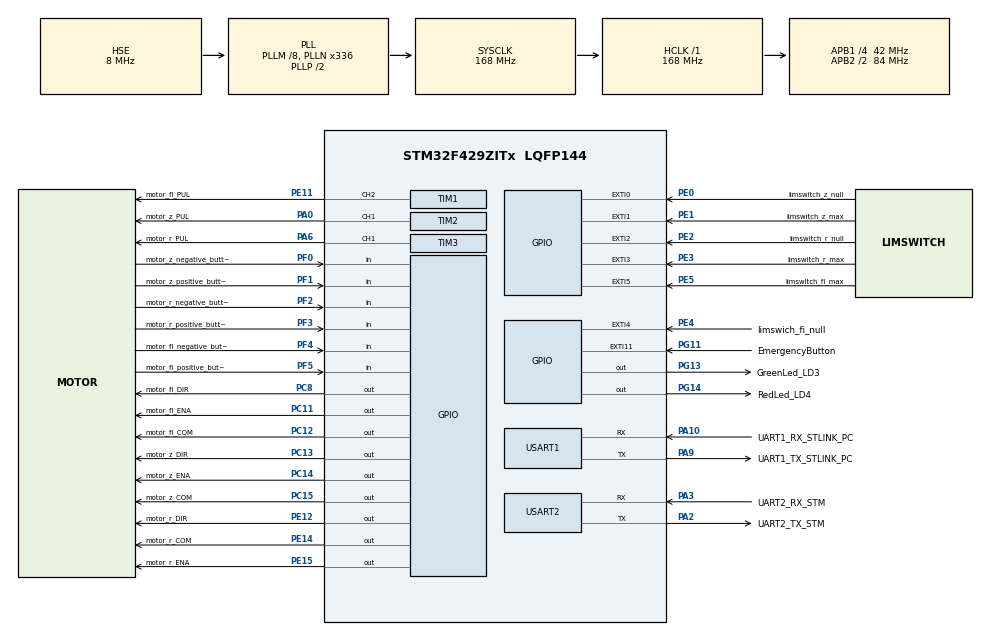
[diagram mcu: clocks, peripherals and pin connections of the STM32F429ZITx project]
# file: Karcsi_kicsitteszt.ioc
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FREERTOS.INCLUDE_vTaskDelayUntil=1
FREERTOS.Queues01=WifiCommands,20,uint8_t,0,Dynamic,NULL,NULL
FREERTOS.Tasks01=indicator_blinking,-3,256,fc_indicator_blinking,Default,(&error_byte),Dynamic,NULL,NULL;control_viaGPIOI,3,2048,fc_control_viaGPIO,Default,stepperMotors,Dynamic,NULL,NULL;control_viaWIFI,3,2048,fc_control_viaWIFI,Default,stepperMotors,Dynamic,NULL,NULL;updateLimSwitch,3,1024,fc_updateLimSwitch,Default,NULL,Dynamic,NULL,NULL
FREERTOS.configCHECK_FOR_STACK_OVERFLOW=2
FREERTOS.configMAX_TASK_NAME_LEN=255
FREERTOS.configTOTAL_HEAP_SIZE=32768
FREERTOS.configUSE_APPLICATION_TASK_TAG=1
FREERTOS.configUSE_COUNTING_SEMAPHORES=1
FREERTOS.configUSE_IDLE_HOOK=1
FREERTOS.configUSE_MALLOC_FAILED_HOOK=1
FREERTOS.configUSE_RECURSIVE_MUTEXES=1
FREERTOS.configUSE_TIMERS=0
Mcu.Family=STM32F4
Mcu.Name=STM32F429ZITx
Mcu.Package=LQFP144
NVIC.EXTI15_10_IRQn=true\:5\:0\:false\:false\:true\:true\:true\:true\:true
NVIC.PriorityGroup=NVIC_PRIORITYGROUP_4
NVIC.TIM1_BRK_TIM9_IRQn=true\:5\:0\:false\:false\:true\:true\:true\:true\:true
NVIC.TIM1_CC_IRQn=true\:5\:0\:false\:false\:true\:true\:true\:true\:true
NVIC.TIM1_TRG_COM_TIM11_IRQn=true\:5\:0\:false\:false\:true\:true\:true\:true\:true
NVIC.TIM1_UP_TIM10_IRQn=true\:5\:0\:false\:false\:true\:true\:true\:true\:true
NVIC.TIM2_IRQn=true\:5\:0\:false\:false\:true\:true\:true\:true\:true
NVIC.TIM3_IRQn=true\:5\:0\:false\:false\:true\:true\:true\:true\:true
NVIC.TIM6_DAC_IRQn=true\:15\:0\:false\:false\:true\:false\:false\:true\:true
NVIC.TimeBase=TIM6_DAC_IRQn
NVIC.TimeBaseIP=TIM6
PA0/WKUP.GPIO_Label=motor_z_PUL
PA0/WKUP.Signal=S_TIM2_CH1_ETR
PA10.GPIO_Label=UART1_RX_STLINK_PC
PA10.Mode=Asynchronous
PA10.Signal=USART1_RX
PA2.GPIO_Label=UART2_TX_STM
PA2.GPIO_Speed=GPIO_SPEED_FREQ_VERY_HIGH
PA2.Mode=Multiprocessor_communication
PA2.Signal=USART2_TX
PA3.GPIO_Label=UART2_RX_STM
PA3.Mode=Multiprocessor_communication
PA3.Signal=USART2_RX
PA6.GPIO_Label=motor_r_PUL
PA6.Signal=S_TIM3_CH1
PA9.GPIO_Label=UART1_TX_STLINK_PC
PA9.Mode=Asynchronous
PA9.Signal=USART1_TX
PC11.GPIO_Label=motor_fi_ENA
PC11.Signal=GPIO_Output
PC12.GPIO_Label=motor_fi_COM
PC12.Signal=GPIO_Output
PC13.GPIO_Label=motor_z_DIR
PC13.Signal=GPIO_Output
PC14/OSC32_IN.GPIO_Label=motor_z_ENA
PC14/OSC32_IN.Signal=GPIO_Output
PC15/OSC32_OUT.GPIO_Label=motor_z_COM
PC15/OSC32_OUT.Signal=GPIO_Output
PC8.GPIO_Label=motor_fi_DIR
PC8.Signal=GPIO_Output
PE0.GPIO_Label=limswitch_z_null
PE0.GPIO_ModeDefaultEXTI=GPIO_MODE_IT_RISING_FALLING
PE0.GPIO_PuPd=GPIO_PULLDOWN
PE0.Signal=GPXTI0
PE1.GPIO_Label=limswitch_z_max
PE1.GPIO_ModeDefaultEXTI=GPIO_MODE_IT_RISING_FALLING
PE1.GPIO_PuPd=GPIO_PULLDOWN
PE1.Signal=GPXTI1
PE11.GPIO_Label=motor_fi_PUL
PE11.GPIO_Speed=GPIO_SPEED_FREQ_HIGH
PE11.Signal=S_TIM1_CH2
PE12.GPIO_Label=motor_r_DIR
PE12.Signal=GPIO_Output
PE14.GPIO_Label=motor_r_COM
PE14.Signal=GPIO_Output
PE15.GPIO_Label=motor_r_ENA
PE15.Signal=GPIO_Output
PE2.GPIO_Label=limswitch_r_null
PE2.GPIO_ModeDefaultEXTI=GPIO_MODE_IT_RISING_FALLING
PE2.GPIO_PuPd=GPIO_PULLDOWN
PE2.Signal=GPXTI2
PE3.GPIO_Label=limswitch_r_max
PE3.GPIO_ModeDefaultEXTI=GPIO_MODE_IT_RISING_FALLING
PE3.GPIO_PuPd=GPIO_PULLDOWN
PE3.Signal=GPXTI3
PE4.GPIO_Label=limswich_fi_null
PE4.GPIO_ModeDefaultEXTI=GPIO_MODE_IT_RISING_FALLING
PE4.GPIO_PuPd=GPIO_PULLDOWN
PE4.Signal=GPXTI4
PE5.GPIO_Label=limswitch_fi_max
PE5.GPIO_ModeDefaultEXTI=GPIO_MODE_IT_RISING_FALLING
PE5.GPIO_PuPd=GPIO_PULLDOWN
PE5.Signal=GPXTI5
PF0.GPIO_Label=motor_z_negative_button
PF0.GPIO_PuPd=GPIO_PULLDOWN
PF0.Signal=GPIO_Input
PF1.GPIO_Label=motor_z_positive_button
PF1.GPIO_PuPd=GPIO_PULLDOWN
PF1.Signal=GPIO_Input
PF2.GPIO_Label=motor_r_negative_button
PF2.GPIO_PuPd=GPIO_PULLDOWN
PF2.Signal=GPIO_Input
PF3.GPIO_Label=motor_r_positive_button
PF3.GPIO_PuPd=GPIO_PULLDOWN
PF3.Signal=GPIO_Input
PF4.GPIO_Label=motor_fi_negative_button
PF4.GPIO_PuPd=GPIO_PULLDOWN
PF4.Signal=GPIO_Input
PF5.GPIO_Label=motor_fi_positive_button
PF5.GPIO_PuPd=GPIO_PULLDOWN
PF5.Signal=GPIO_Input
PG11.GPIO_Label=EmergencyButton
PG11.GPIO_ModeDefaultEXTI=GPIO_MODE_IT_RISING_FALLING
PG11.Signal=GPXTI11
PG13.GPIO_Label=GreenLed_LD3
PG13.GPIO_Mode=GPIO_MODE_OUTPUT_PP
PG13.GPIO_PuPd=GPIO_PULLDOWN
PG13.GPIO_Speed=GPIO_SPEED_FREQ_LOW
PG13.Signal=GPIO_Output
PG14.GPIO_Label=RedLed_LD4
PG14.GPIO_Mode=GPIO_MODE_OUTPUT_PP
PG14.GPIO_PuPd=GPIO_PULLDOWN
PG14.GPIO_Speed=GPIO_SPEED_FREQ_LOW
PG14.Signal=GPIO_Output
PH0/OSC_IN.GPIO_Label=PH0-OSC_IN
PH0/OSC_IN.Mode=HSE-External-Oscillator
PH0/OSC_IN.Signal=RCC_OSC_IN
PH1/OSC_OUT.GPIO_Label=PH1-OSC_OUT
PH1/OSC_OUT.Mode=HSE-External-Oscillator
PH1/OSC_OUT.Signal=RCC_OSC_OUT
ProjectManager.HeapSize=0x200
ProjectManager.StackSize=0x400
ProjectManager.TargetToolchain=STM32CubeIDE
RCC.48MHZClocksFreq_Value=48000000
RCC.AHBFreq_Value=168000000
RCC.APB1CLKDivider=RCC_HCLK_DIV4
RCC.APB1Freq_Value=42000000
RCC.APB1TimFreq_Value=84000000
RCC.APB2CLKDivider=RCC_HCLK_DIV2
RCC.APB2Freq_Value=84000000
RCC.APB2TimFreq_Value=168000000
RCC.CortexFreq_Value=168000000
RCC.HCLKFreq_Value=168000000
RCC.HSE_VALUE=8000000
RCC.HSI_VALUE=16000000
RCC.LSE_VALUE=32768
RCC.PLLM=8
RCC.PLLN=336
RCC.PLLQ=7
RCC.PLLSAIN=50
RCC.PLLSourceVirtual=RCC_PLLSOURCE_HSE
RCC.SYSCLKFreq_VALUE=168000000
RCC.SYSCLKSource=RCC_SYSCLKSOURCE_PLLCLK
RCC.VCOOutputFreq_Value=336000000
SH.S_TIM1_CH2.0=TIM1_CH2,PWM Generation2 CH2
SH.S_TIM2_CH1_ETR.0=TIM2_CH1,PWM Generation1 CH1
SH.S_TIM3_CH1.0=TIM3_CH1,PWM Generation1 CH1
TIM1.Channel-PWM\ Generation2\ CH2=TIM_CHANNEL_2
TIM1.ClockDivision=TIM_CLOCKDIVISION_DIV1
TIM1.CounterMode=TIM_COUNTERMODE_UP
TIM1.OCMode_PWM-PWM\ Generation2\ CH2=TIM_OCMODE_PWM2
TIM1.Period=1000-1
TIM1.Prescaler=1680-1
TIM1.Pulse-PWM\ Generation2\ CH2=499
TIM1.RepetitionCounter=0
TIM1.TIM_MasterOutputTrigger=TIM_TRGO_RESET
TIM2.Channel-PWM\ Generation1\ CH1=TIM_CHANNEL_1
TIM2.CounterMode=TIM_COUNTERMODE_UP
TIM2.OCMode_PWM-PWM\ Generation1\ CH1=TIM_OCMODE_PWM2
TIM2.Period=1000-1
TIM2.Prescaler=1680-1
TIM2.Pulse-PWM\ Generation1\ CH1=499
TIM2.TIM_MasterOutputTrigger=TIM_TRGO_RESET
TIM3.Channel-PWM\ Generation1\ CH1=TIM_CHANNEL_1
TIM3.OCMode_PWM-PWM\ Generation1\ CH1=TIM_OCMODE_PWM2
TIM3.Period=1000-1
TIM3.Prescaler=1680-1
TIM3.Pulse-PWM\ Generation1\ CH1=499
USART1.VirtualMode=VM_ASYNC
USART2.VirtualMode=VM_ASYNC
VP_FREERTOS_VS_CMSIS_V1.Mode=CMSIS_V1
VP_SYS_VS_tim6.Mode=TIM6
VP_TIM1_VS_ClockSourceINT.Mode=Internal
VP_TIM2_VS_ClockSourceINT.Mode=Internal
VP_TIM3_VS_ClockSourceINT.Mode=Internal
board=STM32F429I-DISC1

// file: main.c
/* USER CODE BEGIN Header */
/**
  ******************************************************************************
  * @file           : main.c
  * @brief          : Main program body
  ******************************************************************************
  * This project implements the basic movement functions required for controlling Karcsi.
  * The user can control the arm trough the six pushbuttons connected to port F.
  *
  * TIM1_TRGO pin is connected to TIM2_ITR0, so TIM1 acts as a prescaler to TIM2.
  * In the future this will be used for calculate the position of the arm.
  ******************************************************************************
  */
/* USER CODE END Header */
#include "main.h"
#include "cmsis_os.h"

/* USER CODE BEGIN Includes */
#include "StepperMotorControll.h"
#include <stdio.h>
/* USER CODE END Includes */

/* USER CODE BEGIN PTD */

//Define "gpio" for button control OR define "wifi" for controlling via webpage (wifi communication).
#define gpio 1

/* USER CODE END PTD */

TIM_HandleTypeDef htim1;
TIM_HandleTypeDef htim2;
TIM_HandleTypeDef htim3;

UART_HandleTypeDef huart1;
UART_HandleTypeDef huart2;

osThreadId indicator_blinkingHandle;
osThreadId control_viaGPIOIHandle;
osThreadId control_viaWIFIHandle;
osThreadId updateLimSwitchHandle;
osMessageQId WifiCommandsHandle;
/* USER CODE BEGIN PV */
//Array that contains the motor structs, offers easy acccess to motor variables
static StepperMotor stepperMotors[NUMBER_OF_MOTORS];

/*
 * Pinstates of the limit switches
 * The @limit_switches array must contain 6 element:
 * limit_switches[0] : FI axis' zero point (when the arm is rotated all the way counter-clockwise)
 * limit_switches[1] : FI axis' maximal positive excursion (rotated all the way clockwise)
 * limit_switches[2] : Z axis' zero point (lower switch)
 * limit_switches[3] : Z axis' maximal positiv excursion (upper sitch)
 * limit_switches[4] : R axis' zero ponit (when the arm is fully retracted)
 * limit_switches[5] : R axis' maximal positive excursion (the arm reaches the furthest)
 */
static GPIO_PinState limit_switches[6];

static ToolPosition current_position;

//Counting steps wihle moving
static volatile uint32_t alltime_Rpos = 0;
static volatile uint32_t alltime_Zpos = 0;
static volatile uint32_t alltime_FIpos = 0;

//Controlling Task output
static uint8_t error_byte = 0;

//
static uint8_t homing_state = 0;

/* USER CODE END PV */

void SystemClock_Config(void);
static void MX_GPIO_Init(void);
static void MX_USART1_UART_Init(void);
static void MX_TIM1_Init(void);
static void MX_USART2_UART_Init(void);
static void MX_TIM2_Init(void);
static void MX_TIM3_Init(void);
void fc_indicator_blinking(void const * argument);
void fc_control_viaGPIO(void const * argument);
void fc_control_viaWIFI(void const * argument);
void fc_updateLimSwitch(void const * argument);

int main(void)
{

  /* MCU Configuration--------------------------------------------------------*/

  /* Reset of all peripherals, Initializes the Flash interface and the Systick. */
  HAL_Init();

  /* Configure the system clock */
  SystemClock_Config();

  /* Initialize all configured peripherals */
  MX_GPIO_Init();
  MX_USART1_UART_Init();
  MX_TIM1_Init();
  MX_USART2_UART_Init();
  MX_TIM2_Init();
  MX_TIM3_Init();
  /* USER CODE BEGIN 2 */
  HAL_TIM_Base_Start_IT(&htim1);
  HAL_TIM_Base_Start_IT(&htim2);
  HAL_TIM_Base_Start_IT(&htim3);
  /* USER CODE END 2 */

  /* Create the queue(s) */
  /* definition and creation of WifiCommands */
  osMessageQDef(WifiCommands, 20, uint8_t);
  WifiCommandsHandle = osMessageCreate(osMessageQ(WifiCommands), NULL);

  /* Create the thread(s) */
  /* definition and creation of indicator_blinking */
  osThreadDef(indicator_blinking, fc_indicator_blinking, osPriorityIdle, 0, 256);
  indicator_blinkingHandle = osThreadCreate(osThread(indicator_blinking), (void*) (&error_byte));

  /* definition and creation of control_viaGPIOI */
  osThreadDef(control_viaGPIOI, fc_control_viaGPIO, osPriorityRealtime, 0, 2048);
  control_viaGPIOIHandle = osThreadCreate(osThread(control_viaGPIOI), (void*) stepperMotors);

  /* definition and creation of control_viaWIFI */
  osThreadDef(control_viaWIFI, fc_control_viaWIFI, osPriorityRealtime, 0, 2048);
  control_viaWIFIHandle = osThreadCreate(osThread(control_viaWIFI), (void*) stepperMotors);

  /* definition and creation of updateLimSwitch */
  osThreadDef(updateLimSwitch, fc_updateLimSwitch, osPriorityRealtime, 0, 1024);
  updateLimSwitchHandle = osThreadCreate(osThread(updateLimSwitch), NULL);

  /* USER CODE BEGIN RTOS_THREADS */
  xTaskCreate(
		  (void *)fc_indicator_blinking,  	//funtion to be called
		  "LED Indicating Task",  			//Name of task
		  256, 		   						//Stack size
		  &error_byte, 		    			//parameter to pass to function
		  1, 								//zero is the lowest
		  NULL								//Taks handler
		  );

  xTaskCreate(
		  (void *)fc_updateLimSwitch,  	//funtion to be called
		  "Update limit_switches array",  			//Name of task
		  256, 		   						//Stack size
		  NULL, 		    			//parameter to pass to function
		  1, 								//zero is the lowest
		  NULL								//Taks handler
		  );

#ifdef gpio
  xTaskCreate(
		  (void *)fc_control_viaGPIO,  		//funtion to be called
		  "GPIO Controlling Task",  		//Name of task
		  2048, 		   					//Stack size
		  stepperMotors, 		    		//parameter to pass to function
		  1, 								//zero is the lowest
		  NULL								//Taks handler
		  );
#endif

#ifdef wifi
  xTaskCreate(
		  (void *)fc_control_viaWIFI,  		//funtion to be called
		  "Wifi Controlling Task",  		//Name of task
		  2048, 		   					//Stack size
		  stepperMotors, 		    		//parameter to pass to function
		  1, 								//zero is the lowest
		  NULL								//Taks handler
		  );
#endif

  vTaskStartScheduler();
  /* USER CODE END RTOS_THREADS */

  /* Start scheduler */
  osKernelStart();

  /* We should never get here as control is now taken by the scheduler */
  /* Infinite loop */
  while (1)
  {

  }
}

void SystemClock_Config(void)
{
  RCC_OscInitTypeDef RCC_OscInitStruct = {0};
  RCC_ClkInitTypeDef RCC_ClkInitStruct = {0};

  /** Configure the main internal regulator output voltage
  */
  __HAL_RCC_PWR_CLK_ENABLE();
  __HAL_PWR_VOLTAGESCALING_CONFIG(PWR_REGULATOR_VOLTAGE_SCALE1);

  /** Initializes the RCC Oscillators according to the specified parameters
  * in the RCC_OscInitTypeDef structure.
  */
  RCC_OscInitStruct.OscillatorType = RCC_OSCILLATORTYPE_HSE;
  RCC_OscInitStruct.HSEState = RCC_HSE_ON;
  RCC_OscInitStruct.PLL.PLLState = RCC_PLL_ON;
  RCC_OscInitStruct.PLL.PLLSource = RCC_PLLSOURCE_HSE;
  RCC_OscInitStruct.PLL.PLLM = 8;
  RCC_OscInitStruct.PLL.PLLN = 336;
  RCC_OscInitStruct.PLL.PLLP = RCC_PLLP_DIV2;
  RCC_OscInitStruct.PLL.PLLQ = 7;
  if (HAL_RCC_OscConfig(&RCC_OscInitStruct) != HAL_OK)
  {
    Error_Handler();
  }

  /** Initializes the CPU, AHB and APB buses clocks
  */
  RCC_ClkInitStruct.ClockType = RCC_CLOCKTYPE_HCLK|RCC_CLOCKTYPE_SYSCLK
                              |RCC_CLOCKTYPE_PCLK1|RCC_CLOCKTYPE_PCLK2;
  RCC_ClkInitStruct.SYSCLKSource = RCC_SYSCLKSOURCE_PLLCLK;
  RCC_ClkInitStruct.AHBCLKDivider = RCC_SYSCLK_DIV1;
  RCC_ClkInitStruct.APB1CLKDivider = RCC_HCLK_DIV4;
  RCC_ClkInitStruct.APB2CLKDivider = RCC_HCLK_DIV2;

  if (HAL_RCC_ClockConfig(&RCC_ClkInitStruct, FLASH_LATENCY_5) != HAL_OK)
  {
    Error_Handler();
  }
}

static void MX_TIM1_Init(void)
{

  TIM_ClockConfigTypeDef sClockSourceConfig = {0};
  TIM_MasterConfigTypeDef sMasterConfig = {0};
  TIM_OC_InitTypeDef sConfigOC = {0};
  TIM_BreakDeadTimeConfigTypeDef sBreakDeadTimeConfig = {0};

  htim1.Instance = TIM1;
  htim1.Init.Prescaler = 1680-1;
  htim1.Init.CounterMode = TIM_COUNTERMODE_UP;
  htim1.Init.Period = 1000-1;
  htim1.Init.ClockDivision = TIM_CLOCKDIVISION_DIV1;
  htim1.Init.RepetitionCounter = 0;
  htim1.Init.AutoReloadPreload = TIM_AUTORELOAD_PRELOAD_DISABLE;
  if (HAL_TIM_Base_Init(&htim1) != HAL_OK)
  {
    Error_Handler();
  }
  sClockSourceConfig.ClockSource = TIM_CLOCKSOURCE_INTERNAL;
  if (HAL_TIM_ConfigClockSource(&htim1, &sClockSourceConfig) != HAL_OK)
  {
    Error_Handler();
  }
  if (HAL_TIM_PWM_Init(&htim1) != HAL_OK)
  {
    Error_Handler();
  }
  sMasterConfig.MasterOutputTrigger = TIM_TRGO_RESET;
  sMasterConfig.MasterSlaveMode = TIM_MASTERSLAVEMODE_DISABLE;
  if (HAL_TIMEx_MasterConfigSynchronization(&htim1, &sMasterConfig) != HAL_OK)
  {
    Error_Handler();
  }
  sConfigOC.OCMode = TIM_OCMODE_PWM2;
  sConfigOC.Pulse = 499;
  sConfigOC.OCPolarity = TIM_OCPOLARITY_HIGH;
  sConfigOC.OCNPolarity = TIM_OCNPOLARITY_HIGH;
  sConfigOC.OCFastMode = TIM_OCFAST_DISABLE;
  sConfigOC.OCIdleState = TIM_OCIDLESTATE_RESET;
  sConfigOC.OCNIdleState = TIM_OCNIDLESTATE_RESET;
  if (HAL_TIM_PWM_ConfigChannel(&htim1, &sConfigOC, TIM_CHANNEL_2) != HAL_OK)
  {
    Error_Handler();
  }
  sBreakDeadTimeConfig.OffStateRunMode = TIM_OSSR_DISABLE;
  sBreakDeadTimeConfig.OffStateIDLEMode = TIM_OSSI_DISABLE;
  sBreakDeadTimeConfig.LockLevel = TIM_LOCKLEVEL_OFF;
  sBreakDeadTimeConfig.DeadTime = 0;
  sBreakDeadTimeConfig.BreakState = TIM_BREAK_DISABLE;
  sBreakDeadTimeConfig.BreakPolarity = TIM_BREAKPOLARITY_HIGH;
  sBreakDeadTimeConfig.AutomaticOutput = TIM_AUTOMATICOUTPUT_DISABLE;
  if (HAL_TIMEx_ConfigBreakDeadTime(&htim1, &sBreakDeadTimeConfig) != HAL_OK)
  {
    Error_Handler();
  }
  HAL_TIM_MspPostInit(&htim1);

}

static void MX_TIM2_Init(void)
{

  TIM_ClockConfigTypeDef sClockSourceConfig = {0};
  TIM_MasterConfigTypeDef sMasterConfig = {0};
  TIM_OC_InitTypeDef sConfigOC = {0};

  htim2.Instance = TIM2;
  htim2.Init.Prescaler = 1680-1;
  htim2.Init.CounterMode = TIM_COUNTERMODE_UP;
  htim2.Init.Period = 1000-1;
  htim2.Init.ClockDivision = TIM_CLOCKDIVISION_DIV1;
  htim2.Init.AutoReloadPreload = TIM_AUTORELOAD_PRELOAD_DISABLE;
  if (HAL_TIM_Base_Init(&htim2) != HAL_OK)
  {
    Error_Handler();
  }
  sClockSourceConfig.ClockSource = TIM_CLOCKSOURCE_INTERNAL;
  if (HAL_TIM_ConfigClockSource(&htim2, &sClockSourceConfig) != HAL_OK)
  {
    Error_Handler();
  }
  if (HAL_TIM_PWM_Init(&htim2) != HAL_OK)
  {
    Error_Handler();
  }
  sMasterConfig.MasterOutputTrigger = TIM_TRGO_RESET;
  sMasterConfig.MasterSlaveMode = TIM_MASTERSLAVEMODE_DISABLE;
  if (HAL_TIMEx_MasterConfigSynchronization(&htim2, &sMasterConfig) != HAL_OK)
  {
    Error_Handler();
  }
  sConfigOC.OCMode = TIM_OCMODE_PWM2;
  sConfigOC.Pulse = 499;
  sConfigOC.OCPolarity = TIM_OCPOLARITY_HIGH;
  sConfigOC.OCFastMode = TIM_OCFAST_DISABLE;
  if (HAL_TIM_PWM_ConfigChannel(&htim2, &sConfigOC, TIM_CHANNEL_1) != HAL_OK)
  {
    Error_Handler();
  }
  HAL_TIM_MspPostInit(&htim2);

}

static void MX_TIM3_Init(void)
{

  TIM_ClockConfigTypeDef sClockSourceConfig = {0};
  TIM_MasterConfigTypeDef sMasterConfig = {0};
  TIM_OC_InitTypeDef sConfigOC = {0};

  htim3.Instance = TIM3;
  htim3.Init.Prescaler = 1680-1;
  htim3.Init.CounterMode = TIM_COUNTERMODE_UP;
  htim3.Init.Period = 1000-1;
  htim3.Init.ClockDivision = TIM_CLOCKDIVISION_DIV1;
  htim3.Init.AutoReloadPreload = TIM_AUTORELOAD_PRELOAD_DISABLE;
  if (HAL_TIM_Base_Init(&htim3) != HAL_OK)
  {
    Error_Handler();
  }
  sClockSourceConfig.ClockSource = TIM_CLOCKSOURCE_INTERNAL;
  if (HAL_TIM_ConfigClockSource(&htim3, &sClockSourceConfig) != HAL_OK)
  {
    Error_Handler();
  }
  if (HAL_TIM_PWM_Init(&htim3) != HAL_OK)
  {
    Error_Handler();
  }
  sMasterConfig.MasterOutputTrigger = TIM_TRGO_RESET;
  sMasterConfig.MasterSlaveMode = TIM_MASTERSLAVEMODE_DISABLE;
  if (HAL_TIMEx_MasterConfigSynchronization(&htim3, &sMasterConfig) != HAL_OK)
  {
    Error_Handler();
  }
  sConfigOC.OCMode = TIM_OCMODE_PWM2;
  sConfigOC.Pulse = 499;
  sConfigOC.OCPolarity = TIM_OCPOLARITY_HIGH;
  sConfigOC.OCFastMode = TIM_OCFAST_DISABLE;
  if (HAL_TIM_PWM_ConfigChannel(&htim3, &sConfigOC, TIM_CHANNEL_1) != HAL_OK)
  {
    Error_Handler();
  }
  HAL_TIM_MspPostInit(&htim3);

}

static void MX_USART1_UART_Init(void)
{

  huart1.Instance = USART1;
  huart1.Init.BaudRate = 115200;
  huart1.Init.WordLength = UART_WORDLENGTH_8B;
  huart1.Init.StopBits = UART_STOPBITS_1;
  huart1.Init.Parity = UART_PARITY_NONE;
  huart1.Init.Mode = UART_MODE_TX_RX;
  huart1.Init.HwFlowCtl = UART_HWCONTROL_NONE;
  huart1.Init.OverSampling = UART_OVERSAMPLING_16;
  if (HAL_UART_Init(&huart1) != HAL_OK)
  {
    Error_Handler();
  }

}

static void MX_USART2_UART_Init(void)
{

  huart2.Instance = USART2;
  huart2.Init.BaudRate = 115200;
  huart2.Init.WordLength = UART_WORDLENGTH_8B;
  huart2.Init.StopBits = UART_STOPBITS_1;
  huart2.Init.Parity = UART_PARITY_NONE;
  huart2.Init.Mode = UART_MODE_TX_RX;
  huart2.Init.HwFlowCtl = UART_HWCONTROL_NONE;
  huart2.Init.OverSampling = UART_OVERSAMPLING_16;
  if (HAL_MultiProcessor_Init(&huart2, 0, UART_WAKEUPMETHOD_IDLELINE) != HAL_OK)
  {
    Error_Handler();
  }

}

static void MX_GPIO_Init(void)
{
  GPIO_InitTypeDef GPIO_InitStruct = {0};

  /* GPIO Ports Clock Enable */
  __HAL_RCC_GPIOE_CLK_ENABLE();
  __HAL_RCC_GPIOC_CLK_ENABLE();
  __HAL_RCC_GPIOF_CLK_ENABLE();
  __HAL_RCC_GPIOH_CLK_ENABLE();
  __HAL_RCC_GPIOA_CLK_ENABLE();
  __HAL_RCC_GPIOG_CLK_ENABLE();

  /*Configure GPIO pin Output Level */
  HAL_GPIO_WritePin(GPIOC, motor_z_DIR_Pin|motor_z_ENA_Pin|motor_z_COM_Pin|motor_fi_DIR_Pin
                          |motor_fi_ENA_Pin|motor_fi_COM_Pin, GPIO_PIN_RESET);

  /*Configure GPIO pin Output Level */
  HAL_GPIO_WritePin(GPIOE, motor_r_DIR_Pin|motor_r_COM_Pin|motor_r_ENA_Pin, GPIO_PIN_RESET);

  /*Configure GPIO pin Output Level */
  HAL_GPIO_WritePin(GPIOG, GreenLed_LD3_Pin|RedLed_LD4_Pin, GPIO_PIN_RESET);

  /*Configure GPIO pins : limswitch_r_null_Pin limswitch_r_max_Pin limswich_fi_null_Pin limswitch_fi_max_Pin
                           limswitch_z_null_Pin limswitch_z_max_Pin */
  GPIO_InitStruct.Pin = limswitch_r_null_Pin|limswitch_r_max_Pin|limswich_fi_null_Pin|limswitch_fi_max_Pin
                          |limswitch_z_null_Pin|limswitch_z_max_Pin;
  GPIO_InitStruct.Mode = GPIO_MODE_IT_RISING_FALLING;
  GPIO_InitStruct.Pull = GPIO_PULLDOWN;
  HAL_GPIO_Init(GPIOE, &GPIO_InitStruct);

  /*Configure GPIO pins : motor_z_DIR_Pin motor_z_ENA_Pin motor_z_COM_Pin motor_fi_DIR_Pin
                           motor_fi_ENA_Pin motor_fi_COM_Pin */
  GPIO_InitStruct.Pin = motor_z_DIR_Pin|motor_z_ENA_Pin|motor_z_COM_Pin|motor_fi_DIR_Pin
                          |motor_fi_ENA_Pin|motor_fi_COM_Pin;
  GPIO_InitStruct.Mode = GPIO_MODE_OUTPUT_PP;
  GPIO_InitStruct.Pull = GPIO_NOPULL;
  GPIO_InitStruct.Speed = GPIO_SPEED_FREQ_LOW;
  HAL_GPIO_Init(GPIOC, &GPIO_InitStruct);

  /*Configure GPIO pins : motor_z_negative_button_Pin motor_z_positive_button_Pin motor_r_negative_button_Pin motor_r_positive_button_Pin
                           motor_fi_negative_button_Pin motor_fi_positive_button_Pin */
  GPIO_InitStruct.Pin = motor_z_negative_button_Pin|motor_z_positive_button_Pin|motor_r_negative_button_Pin|motor_r_positive_button_Pin
                          |motor_fi_negative_button_Pin|motor_fi_positive_button_Pin;
  GPIO_InitStruct.Mode = GPIO_MODE_INPUT;
  GPIO_InitStruct.Pull = GPIO_PULLDOWN;
  HAL_GPIO_Init(GPIOF, &GPIO_InitStruct);

  /*Configure GPIO pins : motor_r_DIR_Pin motor_r_COM_Pin motor_r_ENA_Pin */
  GPIO_InitStruct.Pin = motor_r_DIR_Pin|motor_r_COM_Pin|motor_r_ENA_Pin;
  GPIO_InitStruct.Mode = GPIO_MODE_OUTPUT_PP;
  GPIO_InitStruct.Pull = GPIO_NOPULL;
  GPIO_InitStruct.Speed = GPIO_SPEED_FREQ_LOW;
  HAL_GPIO_Init(GPIOE, &GPIO_InitStruct);

  /*Configure GPIO pin : EmergencyButton_Pin */
  GPIO_InitStruct.Pin = EmergencyButton_Pin;
  GPIO_InitStruct.Mode = GPIO_MODE_IT_RISING_FALLING;
  GPIO_InitStruct.Pull = GPIO_NOPULL;
  HAL_GPIO_Init(EmergencyButton_GPIO_Port, &GPIO_InitStruct);

  /*Configure GPIO pins : GreenLed_LD3_Pin RedLed_LD4_Pin */
  GPIO_InitStruct.Pin = GreenLed_LD3_Pin|RedLed_LD4_Pin;
  GPIO_InitStruct.Mode = GPIO_MODE_OUTPUT_PP;
  GPIO_InitStruct.Pull = GPIO_PULLDOWN;
  GPIO_InitStruct.Speed = GPIO_SPEED_FREQ_LOW;
  HAL_GPIO_Init(GPIOG, &GPIO_InitStruct);

  /* EXTI interrupt init*/
  HAL_NVIC_SetPriority(EXTI15_10_IRQn, 5, 0);
  HAL_NVIC_EnableIRQ(EXTI15_10_IRQn);

}

/* USER CODE BEGIN 4 */
/*
 * In case of EXTI, one of the limit switches turn on. To prevent further movement, the axis' motor turns off
 * and @variable current_position is updated.
 */
void HAL_GPIO_EXTI_Callback(uint16_t GPIO_Pin){
	switch (GPIO_Pin){
		case limswitch_z_null_Pin:{
			if(HAL_GPIO_ReadPin(limswitch_z_null_GPIO_Port, limswitch_z_null_Pin)){
				motorOFF(stepperMotors, MOTOR_Z_ID);
				current_position.z = alltime_Zpos = 0;
				stepperMotors[MOTOR_Z_ID].allowedDir = MOTORALLOW_POSDIR;
			}
			else{
				stepperMotors[MOTOR_Z_ID].allowedDir = MOTORALLOW_BOTHDIR;
			}
			break;
		}
		case limswitch_z_max_Pin:{
			if(HAL_GPIO_ReadPin(limswitch_z_max_GPIO_Port, limswitch_z_max_Pin)){
				motorOFF(stepperMotors, MOTOR_Z_ID);
				current_position.z = alltime_Zpos = MOTOR_Z_MAXPOS;
				stepperMotors[MOTOR_Z_ID].allowedDir = MOTORALLOW_NEGDIR;
			}
			else{
				stepperMotors[MOTOR_Z_ID].allowedDir = MOTORALLOW_BOTHDIR;
			}
			break;
		}
		case limswitch_r_null_Pin:{
			if(HAL_GPIO_ReadPin(limswitch_r_null_GPIO_Port, limswitch_r_null_Pin)){
				motorOFF(stepperMotors, MOTOR_R_ID);
				current_position.r = alltime_Rpos = 0;
				stepperMotors[MOTOR_R_ID].allowedDir = MOTORALLOW_POSDIR;
			}
			else{
				stepperMotors[MOTOR_R_ID].allowedDir = MOTORALLOW_BOTHDIR;
			}
			break;
		}
		case limswitch_r_max_Pin:{
			if(HAL_GPIO_ReadPin(limswitch_r_max_GPIO_Port, limswitch_r_max_Pin)){
				motorOFF(stepperMotors, MOTOR_R_ID);
				current_position.r = alltime_Rpos = MOTOR_R_MAXPOS;
				stepperMotors[MOTOR_R_ID].allowedDir = MOTORALLOW_NEGDIR;
			}
			else{
				stepperMotors[MOTOR_R_ID].allowedDir = MOTORALLOW_BOTHDIR;
			}
			break;
		}
		case limswich_fi_null_Pin:{
			if(HAL_GPIO_ReadPin(limswich_fi_null_GPIO_Port, limswich_fi_null_Pin)){
				motorOFF(stepperMotors, MOTOR_FI_ID);
				current_position.fi =alltime_FIpos = 0;
				stepperMotors[MOTOR_FI_ID].allowedDir = MOTORALLOW_POSDIR;
			}
			else{
				stepperMotors[MOTOR_FI_ID].allowedDir = MOTORALLOW_BOTHDIR;
			}
			break;
		}
		case limswitch_fi_max_Pin:{
			if(HAL_GPIO_ReadPin(limswitch_fi_max_GPIO_Port, limswitch_fi_max_Pin)){
				motorOFF(stepperMotors, MOTOR_FI_ID);
				current_position.fi = alltime_FIpos = MOTOR_FI_MAXPOS;
				stepperMotors[MOTOR_FI_ID].allowedDir = MOTORALLOW_NEGDIR;
			}
			else{
				stepperMotors[MOTOR_FI_ID].allowedDir = MOTORALLOW_BOTHDIR;
			}
			break;
		}
	}
}
/* USER CODE END 4 */

void fc_indicator_blinking(void const * argument)
{
  /* USER CODE BEGIN 5 */
  /* Infinite loop */
  for(;;)
  {
	  if(error_byte){
		  HAL_GPIO_WritePin(RedLed_LD4_GPIO_Port, RedLed_LD4_Pin, 1);
		  osDelay(200);
		  HAL_GPIO_WritePin(RedLed_LD4_GPIO_Port, RedLed_LD4_Pin, 0);
		  osDelay(200);
	  }
	  else{
		  HAL_GPIO_WritePin(GreenLed_LD3_GPIO_Port, GreenLed_LD3_Pin, 1);
		  osDelay(1000);
		  HAL_GPIO_WritePin(GreenLed_LD3_GPIO_Port, GreenLed_LD3_Pin, 0);
		  osDelay(1000);
	  }
  }
  /* USER CODE END 5 */
}

/* USER CODE BEGIN Header_fc_control_viaGPIO */
/**
* @brief Function implementing the control_viaGPIOI thread.
* @param argument: Array of motor structs
* @retval None
*/
/* USER CODE END Header_fc_control_viaGPIO */
void fc_control_viaGPIO(void const * argument)
{
  /* USER CODE BEGIN fc_control_viaGPIO */
	//MOTOR INIT ------------------------------------------------------------------//
	StepperMotor* stepperMotors = (StepperMotor*)argument;
	stepperMotors[MOTOR_FI_ID] = (StepperMotor) {
			.ID = MOTOR_FI_ID,
			.allowedDir = MOTORALLOW_BOTHDIR,
			.motorState = MOTORSTATE_STOPPED,

			.TIM_CH = TIM_CHANNEL_2,	//PE11
			.TIM = &htim1,

			.enablePORT = motor_fi_ENA_GPIO_Port,  //PC11
			.enablePIN = motor_fi_ENA_Pin,

			.dirPORT = motor_fi_DIR_GPIO_Port,	//PC8
			.dirPIN = motor_fi_DIR_Pin,
	};
	stepperMotors[MOTOR_Z_ID] = (StepperMotor) {
			.ID = MOTOR_Z_ID,
			.allowedDir = MOTORALLOW_BOTHDIR,
			.motorState = MOTORSTATE_STOPPED,

			.TIM_CH = TIM_CHANNEL_1,	//PA0
			.TIM = &htim2,

			.enablePORT = motor_z_ENA_GPIO_Port,	//PC14
			.enablePIN = motor_z_ENA_Pin,

			.dirPORT = motor_z_DIR_GPIO_Port,	//PC13
			.dirPIN = motor_z_DIR_Pin,
	};
	stepperMotors[MOTOR_R_ID] = (StepperMotor) {
			.ID = MOTOR_R_ID,
			.allowedDir = MOTORALLOW_BOTHDIR,
			.motorState = MOTORSTATE_STOPPED,

			.TIM_CH = TIM_CHANNEL_1,	//PA6
			.TIM = &htim3,

			.enablePORT = motor_r_ENA_GPIO_Port,  //PE15
			.enablePIN = motor_r_ENA_Pin,

			.dirPORT = motor_r_DIR_GPIO_Port,		//PE12
			.dirPIN = motor_r_DIR_Pin,
	};

	//Set the COM pins to GND
	HAL_GPIO_WritePin(motor_fi_COM_GPIO_Port, motor_fi_COM_Pin, 0);
	HAL_GPIO_WritePin(motor_r_COM_GPIO_Port, motor_r_COM_Pin , 0);
	HAL_GPIO_WritePin(motor_z_COM_GPIO_Port, motor_z_COM_Pin, 0);

	//Enable all motor
	HAL_GPIO_WritePin(stepperMotors[MOTOR_R_ID].enablePORT,stepperMotors[MOTOR_R_ID].enablePIN , 1);	//enable = HIGH
	HAL_GPIO_WritePin(stepperMotors[MOTOR_Z_ID].enablePORT,stepperMotors[MOTOR_Z_ID].enablePIN , 1);	// enable = HIGH
	HAL_GPIO_WritePin(stepperMotors[MOTOR_FI_ID].enablePORT,stepperMotors[MOTOR_FI_ID].enablePIN , 0);  // enable = GND

	//HOMING ----------------------------------------------------------------------------//
	if(!homing_state){
		error_byte = startAllMotor(stepperMotors, MOTORDIR_NEGATIVE);
		//Only run if the arm is not homed
		if(!error_byte){
			//waiting untill all of the motors has reached their limit
			while((GPIO_PIN_SET != limit_switches[1]) || (GPIO_PIN_SET != limit_switches[3]) || (GPIO_PIN_SET != limit_switches[5])){

				//FI axis check
				if(GPIO_PIN_SET == limit_switches[1]){
					motorOFF(stepperMotors, MOTOR_FI_ID);
					current_position.fi = 0;
					alltime_FIpos = 0;
				}

				//Z axis check
				if(GPIO_PIN_SET == limit_switches[3]){
					motorOFF(stepperMotors, MOTOR_Z_ID);
					current_position.z = 0;
					alltime_Zpos = 0;
				}

				//R axis check
				if(GPIO_PIN_SET == limit_switches[5]){
					motorOFF(stepperMotors, MOTOR_R_ID);
					current_position.r = 0;
					alltime_Rpos = 0;
				}
			}
			homing_state = 1;
		}
		else {
			//if there is a problem about the motors, dont do nothing stupid
			//for(;;){}
		}
	}

	//START CONTROL TASK -----------------------------------------------------------------------//
	/* Infinite contol loop */
	for(;;)
	{
		//R axis
		controlMotor_viaGPIO(
			motor_r_positive_button_GPIO_Port, motor_r_positive_button_Pin,
			motor_r_negative_button_GPIO_Port, motor_r_negative_button_Pin,
			stepperMotors, MOTOR_R_ID
		);

		//FI axis
		controlMotor_viaGPIO(
			motor_fi_positive_button_GPIO_Port, motor_fi_positive_button_Pin,
			motor_fi_negative_button_GPIO_Port, motor_fi_negative_button_Pin,
			stepperMotors, MOTOR_FI_ID
		);

		//Z axis
		controlMotor_viaGPIO(
			motor_z_positive_button_GPIO_Port, motor_z_positive_button_Pin,
			motor_z_negative_button_GPIO_Port, motor_z_negative_button_Pin,
			stepperMotors, MOTOR_Z_ID
		);
	}
  /* USER CODE END fc_control_viaGPIO */
}

void fc_control_viaWIFI(void const * argument)
{
  /* USER CODE BEGIN fc_control_viaWIFI */
	//MOTOR INIT ------------------------------------------------------------------//
	StepperMotor* stepperMotors = (StepperMotor*)argument;
	stepperMotors[MOTOR_FI_ID] = (StepperMotor) {
			.ID = MOTOR_FI_ID,
			.allowedDir = MOTORALLOW_BOTHDIR,
			.motorState = MOTORSTATE_STOPPED,

			.TIM_CH = TIM_CHANNEL_2,	//PE11
			.TIM = &htim1,

			.enablePORT = motor_fi_ENA_GPIO_Port,  //PC11
			.enablePIN = motor_fi_ENA_Pin,

			.dirPORT = motor_fi_DIR_GPIO_Port,	//PC8
			.dirPIN = motor_fi_DIR_Pin,
	};
	stepperMotors[MOTOR_Z_ID] = (StepperMotor) {
			.ID = MOTOR_Z_ID,
			.allowedDir = MOTORALLOW_BOTHDIR,
			.motorState = MOTORSTATE_STOPPED,

			.TIM_CH = TIM_CHANNEL_1,	//PA0
			.TIM = &htim2,

			.enablePORT = motor_z_ENA_GPIO_Port,	//PC14
			.enablePIN = motor_z_ENA_Pin,

			.dirPORT = motor_z_DIR_GPIO_Port,	//PC13
			.dirPIN = motor_z_DIR_Pin,
	};
	stepperMotors[MOTOR_R_ID] = (StepperMotor) {
			.ID = MOTOR_R_ID,
			.allowedDir = MOTORALLOW_BOTHDIR,
			.motorState = MOTORSTATE_STOPPED,

			.TIM_CH = TIM_CHANNEL_1,	//PA6
			.TIM = &htim3,

			.enablePORT = motor_r_ENA_GPIO_Port,  //PE15
			.enablePIN = motor_r_ENA_Pin,

			.dirPORT = motor_r_DIR_GPIO_Port,		//PE12
			.dirPIN = motor_r_DIR_Pin,
	};

	//Set the COM pins to GND
	HAL_GPIO_WritePin(motor_fi_COM_GPIO_Port, motor_fi_COM_Pin, 0);
	HAL_GPIO_WritePin(motor_r_COM_GPIO_Port, motor_r_COM_Pin , 0);
	HAL_GPIO_WritePin(motor_z_COM_GPIO_Port, motor_z_COM_Pin, 0);

	//Enable all motor
	HAL_GPIO_WritePin(stepperMotors[MOTOR_R_ID].enablePORT,stepperMotors[MOTOR_R_ID].enablePIN , 1);	//enable = HIGH
	HAL_GPIO_WritePin(stepperMotors[MOTOR_Z_ID].enablePORT,stepperMotors[MOTOR_Z_ID].enablePIN , 1);	// enable = HIGH
	HAL_GPIO_WritePin(stepperMotors[MOTOR_FI_ID].enablePORT,stepperMotors[MOTOR_FI_ID].enablePIN , 0);  // enable = GND

	//HOMING ----------------------------------------------------------------------------//
	if(!homing_state){
		error_byte = startAllMotor(stepperMotors, MOTORDIR_NEGATIVE);
		//Only run if the arm is not homed
		if(!error_byte){
			//waiting untill all of the motors has reached their limit
			while((GPIO_PIN_SET != limit_switches[1]) || (GPIO_PIN_SET != limit_switches[3]) || (GPIO_PIN_SET != limit_switches[5])){

				//FI axis check
				if(GPIO_PIN_SET == limit_switches[1]){
					motorOFF(stepperMotors, MOTOR_FI_ID);
					current_position.fi = 0;
					alltime_FIpos = 0;
				}

				//Z axis check
				if(GPIO_PIN_SET == limit_switches[3]){
					motorOFF(stepperMotors, MOTOR_Z_ID);
					current_position.z = 0;
					alltime_Zpos = 0;
				}

				//R axis check
				if(GPIO_PIN_SET == limit_switches[5]){
					motorOFF(stepperMotors, MOTOR_R_ID);
					current_position.r = 0;
					alltime_Rpos = 0;
				}
			}
			homing_state = 1;
		}
		else {
			//if there is a problem about the motors, dont do nothing stupid
			for(;;){}
		}
	}

	//START CONTROL TASK ----------------------------------------------------------------//
	RequestType incoming_instruction;
	MovementCommands command;
	uint32_t Z_tempPos = 0, R_tempPos = 0, FI_tempPos = 0;
	uint8_t rdy = 1;

	/* Infinite controll loop */
	while(1)
	{
		if(rdy && xQueueReceive(WifiCommandsHandle, &incoming_instruction, 0)){
			command = translate_incomingInstruction(incoming_instruction);

			switch(command){
					case Z_UP: {
							Z_tempPos = alltime_Zpos;
							startMotor(stepperMotors, MOTOR_Z_ID, MOTORDIR_POSITIVE);
							rdy = 0;
							break;
					}
					case Z_DOWN:{
							Z_tempPos = alltime_Zpos;
							startMotor(stepperMotors, MOTOR_Z_ID, MOTORDIR_NEGATIVE);
							rdy = 0;
							break;
					}
					case R_FORWARD:{
							R_tempPos = alltime_Rpos;
							startMotor(stepperMotors, MOTOR_R_ID, MOTORDIR_POSITIVE);
							rdy = 0;
							break;
					}
					case R_BACKWARD:{
							R_tempPos = alltime_Rpos;
							startMotor(stepperMotors, MOTOR_R_ID, MOTORDIR_NEGATIVE);
							rdy = 0;
							break;
					}
					case FI_COUNTERCLOCKWISE:{
							FI_tempPos = alltime_FIpos;
							startMotor(stepperMotors, MOTOR_FI_ID, MOTORDIR_POSITIVE);
							rdy = 0;
							break;
					}
					case FI_CLOCKWISE:{
							FI_tempPos = alltime_FIpos;
							startMotor(stepperMotors, MOTOR_FI_ID, MOTORDIR_NEGATIVE);
							rdy = 0;
							break;
					}
					default: {}
			}
		}

		if(!rdy && ((alltime_Zpos < (Z_tempPos - MOTOR_Z_MICROSTEP)) || (alltime_Zpos > (Z_tempPos + MOTOR_Z_MICROSTEP)))){
			motorOFF(stepperMotors, MOTOR_Z_ID);
			rdy = 1;
		}

		if(!rdy && ((alltime_Rpos < (R_tempPos - MOTOR_R_MICROSTEP)) || (alltime_Rpos > (R_tempPos + MOTOR_R_MICROSTEP)))){
			motorOFF(stepperMotors, MOTOR_R_ID);
			rdy = 1;
		}

		if(!rdy && ((alltime_FIpos < (FI_tempPos - MOTOR_FI_MICROSTEP)) || (alltime_FIpos > (FI_tempPos + MOTOR_FI_MICROSTEP)))){
			motorOFF(stepperMotors, MOTOR_FI_ID);
			rdy = 1;
		}
	}
  /* USER CODE END fc_control_viaWIFI */
}

void fc_updateLimSwitch(void const * argument)
{
  /* USER CODE BEGIN fc_updateLimSwitch */
  /* Infinite loop */
  for(;;)
  {
	/*
    limit_switches[1] = HAL_GPIO_ReadPin(motor_z_negative_button_GPIO_Port, motor_z_negative_button_Pin);
    limit_switches[2] = HAL_GPIO_ReadPin(motor_z_positive_button_GPIO_Port, motor_z_positive_button_Pin);
    limit_switches[3] = HAL_GPIO_ReadPin(motor_r_negative_button_GPIO_Port, motor_r_negative_button_Pin);
    limit_switches[4] = HAL_GPIO_ReadPin(motor_r_positive_button_GPIO_Port, motor_r_positive_button_Pin);
    limit_switches[5] = HAL_GPIO_ReadPin(motor_fi_negative_button_GPIO_Port, motor_fi_negative_button_Pin);
    limit_switches[6] = HAL_GPIO_ReadPin(motor_fi_positive_button_GPIO_Port, motor_fi_positive_button_Pin);
    */
  }
  /* USER CODE END fc_updateLimSwitch */
}

void HAL_TIM_PeriodElapsedCallback(TIM_HandleTypeDef *htim)
{
  if (htim->Instance == TIM6) {
    HAL_IncTick();
  }
  /* USER CODE BEGIN Callback 1 */
  if(htim->Instance == TIM1) {
	  if(MOTORDIR_NEGATIVE == stepperMotors[MOTOR_FI_ID].dir){
		  alltime_FIpos--;
	  }
	  else if(MOTORDIR_POSITIVE == stepperMotors[MOTOR_FI_ID].dir){
		  alltime_FIpos++;
	  }
  }
  if(htim->Instance == TIM2) {
	  if(MOTORDIR_NEGATIVE == stepperMotors[MOTOR_FI_ID].dir){
		  alltime_Zpos--;
	  }
	  else if(MOTORDIR_POSITIVE == stepperMotors[MOTOR_FI_ID].dir){
		  alltime_Zpos++;
	  }
  }
  if(htim->Instance == TIM3) {
	  if(MOTORDIR_NEGATIVE == stepperMotors[MOTOR_FI_ID].dir){
		  alltime_Rpos--;
	  }
	  else if(MOTORDIR_POSITIVE == stepperMotors[MOTOR_FI_ID].dir){
		  alltime_Rpos++;
	  }
  }
  /* USER CODE END Callback 1 */
}

void Error_Handler(void)
{
}
